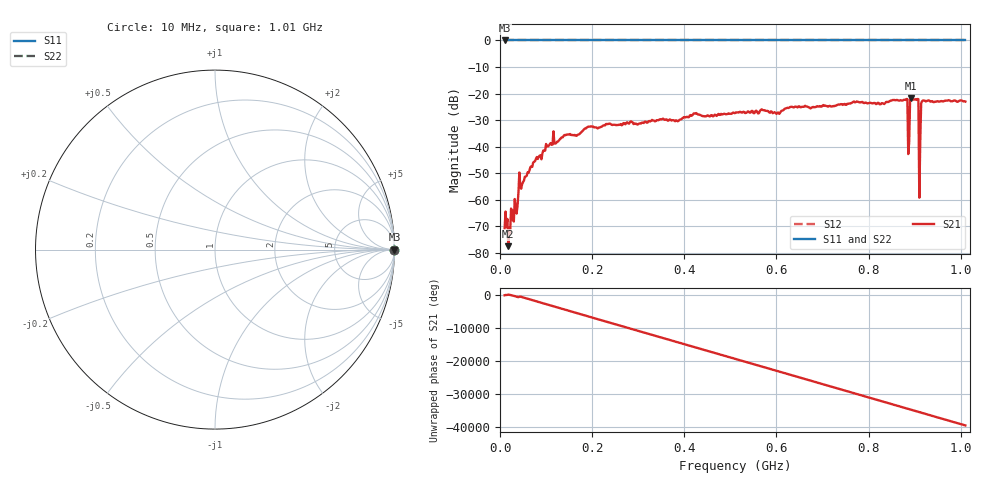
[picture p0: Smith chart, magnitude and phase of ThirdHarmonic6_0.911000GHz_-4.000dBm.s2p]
! 8/16/2025 5:48:36 AM
! C:\ANRITSUVNA\TEMP\TEMP.S2P
! CHANNEL.1
! TR.MEASUREMENT
! RAW.DATA
! RF.CORRECTION.OFF
! AVERAGING.OFF
! IF.BANDWIDTH: 5KHZ
! SWEEPTYPE:  FREQ.SWEEP(Linear)
! Reference Plane Port Info
! PORT:  PORT1  PORT2
! DISTANCE:  0  m  0  m
! TIME:  0  s  0  s
! PHASE.OFFSET:  0  deg.  0  deg.
! LOSS:  0  dB  0  dB
! REF.LOSS:  0  dB  0  dB
! REF.FREQ:  0  Hz  0  Hz
! Power Info
! POWER:  -20  dBm  -20  dBm
! EFF.POWER:  -20  dBm  -20  dBm
! SOURCE.ATTEN:  0  dB  0  dB
! TEST.ATTEN:  0  dB  0  dB
# GHZ S RI R 50.0
! FREQ.GHZ  S11RE  S11IM  S21RE  S21IM  S12RE  S12IM  S22RE  S22IM
!; PortSelection: Port_12
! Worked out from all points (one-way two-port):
!   501 points, 10 MHz to 1.01 GHz, reference 50 ohm
!   highest |S21| = -21.60 dB at 892 MHz (marker M1); lowest = -77.4 dB at 18 MHz (marker M2)
!   lowest |S11| = 0.0 dB at 10 MHz (marker M3)
!   |S11| at or under -10 dB: nowhere
!   |S22| runs from 0.0 to 0.0 dB; largest |S21 - S12| = 1.1
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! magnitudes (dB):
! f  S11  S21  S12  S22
! 10 MHz  0.0  -70.9  0.0  0.0
! 18 MHz  0.0  -77.4  0.0  0.0
! 34 MHz  0.0  -62.9  0.0  0.0
! 44 MHz  0.0  -54.9  0.0  0.0
! 76 MHz  0.0  -45.4  0.0  0.0
! 112 MHz  0.0  -39.3  0.0  0.0
! 178 MHz  0.0  -34.2  0.0  0.0
! 344 MHz  0.0  -30.0  0.0  0.0
! 510 MHz  0.0  -27.4  0.0  0.0
! 678 MHz  0.0  -25.1  0.0  0.0
! 844 MHz  0.0  -23.1  0.0  0.0
! 880 MHz  0.0  -22.4  0.0  0.0
! 884 MHz  0.0  -22.0  0.0  0.0
! 890 MHz  0.0  -22.1  0.0  0.0
! 892 MHz  0.0  -21.6  0.0  0.0
! 894 MHz  0.0  -21.8  0.0  0.0
! 904 MHz  0.0  -22.4  0.0  0.0
! 908 MHz  0.0  -22.1  0.0  0.0
! 914 MHz  0.0  -23.7  0.0  0.0
! 916 MHz  0.0  -22.9  0.0  0.0
! 918 MHz  0.0  -22.6  0.0  0.0
! 1.01 GHz  0.0  -23.0  0.0  0.0
